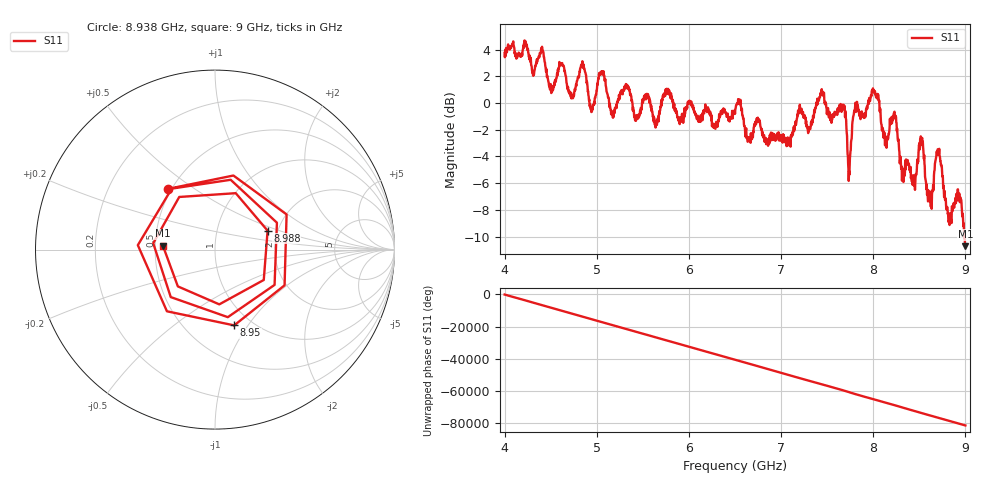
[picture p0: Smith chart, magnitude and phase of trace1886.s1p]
! Created with skrf 1.8.0 (http://scikit-rf.org).
# Hz S RI R 50.0
!freq ReS11 ImS11
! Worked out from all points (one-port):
!   1601 points, 4 GHz to 9 GHz, reference 50 ohm
!   lowest |S11| = -10.7 dB at 9 GHz (marker M1), VSWR 1.82, Z = 27.5 + j1.28 ohm
!   |S11| at or under -10 dB: 8.987164 GHz to 8.989672 GHz (2.508 MHz wide, 0.0279 % of centre); 8.991809 GHz to end of sweep
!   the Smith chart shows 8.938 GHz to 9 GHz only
!   S11 on the Smith chart (normalised r, x): 8.938 GHz: 0.48, +0.40; 8.95 GHz: 0.83, -0.87; 8.988 GHz: 1.77, +0.41; 9 GHz: 0.55, +0.03
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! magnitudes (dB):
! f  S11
! 4 GHz  3.8
! 4.406 GHz  4.2
! 4.509 GHz  0.8
! 4.625 GHz  3.0
! 4.728 GHz  0.5
! 4.853 GHz  2.6
! 4.944 GHz  -0.5
! 5.05 GHz  2.4
! 5.162 GHz  -0.6
! 5.25 GHz  0.3
! 5.875 GHz  -1.1
! 6.5 GHz  -0.8
! 7.125 GHz  -2.2
! 7.441 GHz  1.0
! 7.675 GHz  -0.2
! 7.75 GHz  -3.9
! 7.806 GHz  0.0
! 8.009 GHz  0.9
! 8.375 GHz  -4.3
! 8.444 GHz  -6.2
! 8.522 GHz  -2.7
! 8.616 GHz  -7.4
! 8.706 GHz  -3.5
! 8.825 GHz  -8.9
! 8.938 GHz  -7.4
! 8.95 GHz  -7.2
! 8.988 GHz  -10.1
! 9 GHz  -10.7
